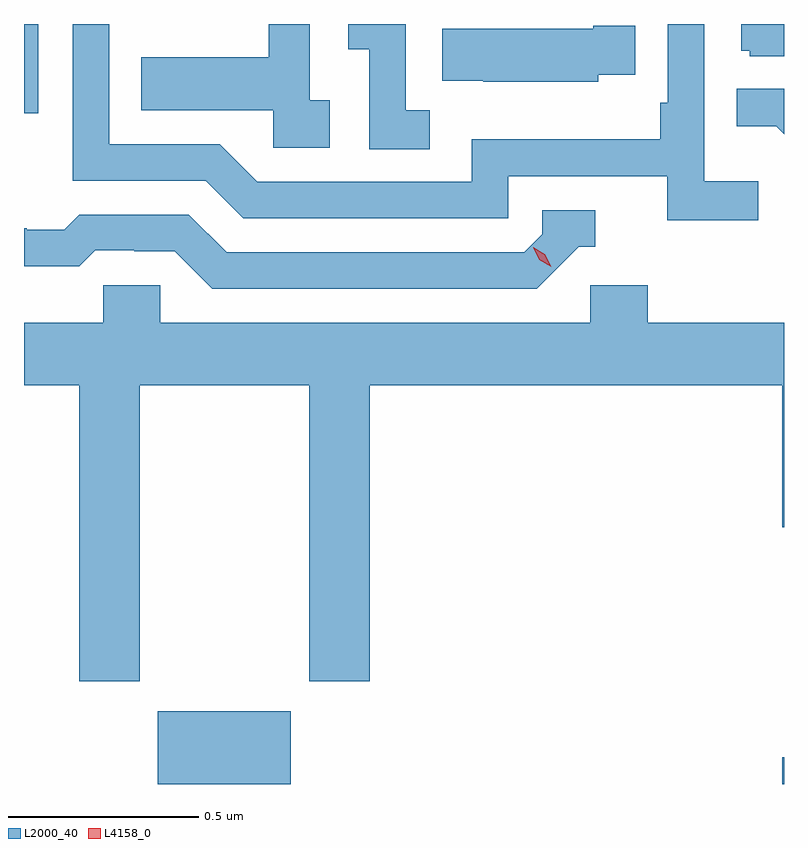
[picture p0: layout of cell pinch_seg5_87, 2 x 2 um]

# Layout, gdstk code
import gdstk
lib = gdstk.Library(unit=1e-6, precision=1e-09)
def R(c, l, rs):  # rectangles x0, y0, x1, y1
    for r in rs: c.add(gdstk.rectangle(r[:2], r[2:], *l))
def P(c, l, *ps):  # polygons
    for p in ps: c.add(gdstk.Polygon(p, *l))
L2000_40 = (2000, 40)
L4158_0 = (4158, 0)

pinch_seg5_87 = lib.new_cell('pinch_seg5_87')
R(pinch_seg5_87, L2000_40, [(1038.488,904.994,1038.838,905.185), (1040.132,904.994,1040.136,905.065), (1038.136,906.759,1038.174,906.994)])
P(pinch_seg5_87, L2000_40, [(1040.068,906.58),(1039.926,906.58),(1039.926,906.994),(1039.83,906.994),(1039.83,906.787),(1039.81,906.787),(1039.81,906.691),(1039.314,906.691),(1039.314,906.579),(1038.75,906.579),(1038.651,906.678),(1038.36,906.678),(1038.36,906.994),(1038.264,906.994),(1038.264,906.582),(1038.614,906.582),(1038.713,906.483),(1039.41,906.483),(1039.41,906.594),(1039.829,906.594),(1039.829,906.478),(1040.068,906.478)],
  [(1039.204,906.767),(1039.14,906.767),(1039.14,906.994),(1038.989,906.994),(1038.989,906.928),(1039.044,906.928),(1039.044,906.664),(1039.204,906.664)],
  [(1038.94,906.794),(1038.888,906.794),(1038.888,906.994),(1038.78,906.994),(1038.78,906.907),(1038.445,906.907),(1038.445,906.767),(1038.792,906.767),(1038.792,906.669),(1038.94,906.669)],
  [(1040.136,906.994),(1040.024,906.994),(1040.024,906.924),(1040.046,906.924),(1040.046,906.909),(1040.136,906.909)],
  [(1039.647,906.86),(1039.745,906.86),(1039.745,906.99),(1039.634,906.99),(1039.634,906.982),(1039.237,906.982),(1039.237,906.845),(1039.345,906.845),(1039.345,906.842),(1039.647,906.842)],
  [(1040.136,906.824),(1040.011,906.824),(1040.011,906.725),(1040.115,906.725),(1040.136,906.704)],
  [(1039.596,906.408),(1039.639,906.408),(1039.639,906.504),(1039.5,906.504),(1039.5,906.441),(1039.452,906.393),(1038.669,906.393),(1038.57,906.492),(1038.281,906.492),(1038.242,906.453),(1038.143,906.453),(1038.143,906.456),(1038.136,906.456),(1038.136,906.357),(1038.281,906.357),(1038.323,906.399),(1038.426,906.399),(1038.426,906.396),(1038.533,906.396),(1038.632,906.297),(1039.485,906.297)],
  [(1039.626,906.306),(1039.626,906.208),(1038.495,906.208),(1038.495,906.306),(1038.345,906.306),(1038.345,906.208),(1038.136,906.208),(1038.136,906.044),(1038.281,906.044),(1038.281,905.265),(1038.441,905.265),(1038.441,906.044),(1038.886,906.044),(1038.886,905.265),(1039.046,905.265),(1039.046,906.044),(1040.132,906.044),(1040.132,905.67),(1040.136,905.67),(1040.136,906.208),(1039.778,906.208),(1039.778,906.306)])
P(pinch_seg5_87, L4158_0, [(1039.523,906.355),(1039.492,906.374),(1039.476,906.407),(1039.476,906.407),(1039.476,906.407),(1039.507,906.388),(1039.523,906.355),(1039.523,906.355)])

lib.write_gds('pinch_seg5_87.gds')
